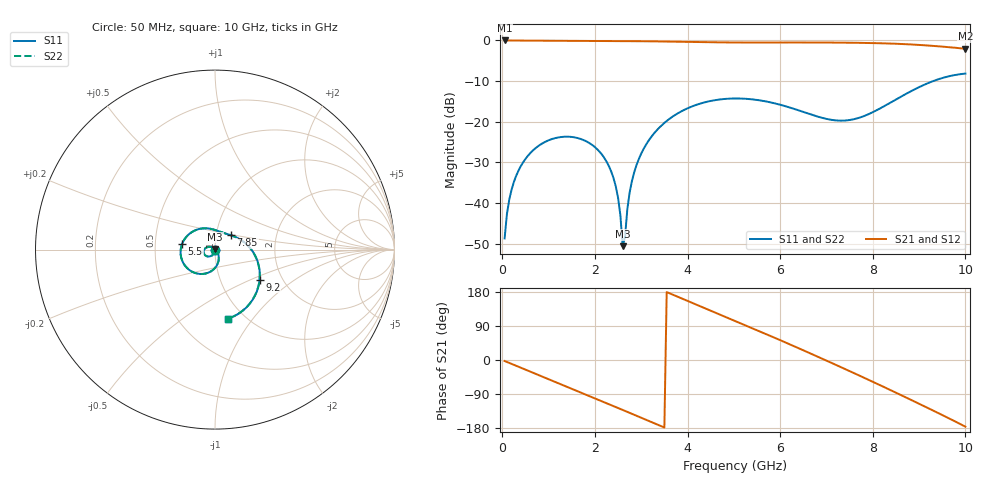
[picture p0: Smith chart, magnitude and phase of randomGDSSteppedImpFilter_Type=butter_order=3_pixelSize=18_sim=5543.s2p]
! freq	dB(S11)	phase(S11)	dB(S12)	phase(S12)
!  dB(S21)	phase(S21)	dB(S22)	phase(S22)
!S-par simulation data
#  GHz  S  DB  R 50
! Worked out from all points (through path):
!   200 points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, 50 MHz to 10 GHz, reference 50 ohm
!   highest |S21| = 0.00 dB at 50 MHz (marker M1); lowest = -2.1 dB at 10 GHz (marker M2)
!   group delay of S21, straight-line fit = 147 ps
!   lowest |S11| = -50.6 dB at 2.6 GHz (marker M3), VSWR 1.01, Z = 50 + j0.295 ohm
!   |S11| at or under -10 dB: start of sweep to 9.303 GHz
!   |S22| runs from -51.4 to -8.2 dB; largest |S21 - S12| = 0
!   S11 on the Smith chart (normalised r, x): 50 MHz: 1.00, -0.01; 5.5 GHz: 0.69, +0.05; 7.85 GHz: 1.18, +0.19; 9.2 GHz: 1.54, -0.57; 10 GHz: 0.84, -0.77
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0.05  -48.67 -91.5  -0.00 -2.6  -0.00 -2.6  -48.67 -91.5
0.2  -36.70 -100.1  -0.02 -10.2  -0.02 -10.2  -36.70 -100.1
0.55  -28.40 -118.4  -0.04 -27.9  -0.04 -27.9  -28.40 -118.4
1.1  -24.14 -146.8  -0.08 -55.7  -0.08 -55.7  -24.14 -146.7
1.75  -24.47 179.5  -0.11 -88.5  -0.11 -88.5  -24.47 179.8
2.35  -32.16 145.6  -0.14 -119.0  -0.14 -119.0  -32.17 146.4
2.5  -38.69 132.1  -0.15 -126.6  -0.15 -126.6  -38.72 133.8
2.6  -50.58 86.4  -0.15 -131.8  -0.15 -131.8  -51.35 91.3
2.65  -48.30 -6.2  -0.16 -134.3  -0.16 -134.3  -48.80 -10.3
2.75  -37.38 -40.6  -0.16 -139.5  -0.16 -139.5  -37.42 -42.1
2.85  -32.35 -49.9  -0.17 -144.6  -0.17 -144.6  -32.37 -50.8
3.4  -21.32 -82.0  -0.25 -173.0  -0.25 -173.0  -21.33 -82.3
4.15  -15.99 -121.1  -0.39 148.3  -0.39 148.3  -15.99 -121.2
5.05  -14.27 -167.3  -0.51 102.1  -0.51 102.1  -14.27 -167.3
5.5  -14.63 169.5  -0.52 78.7  -0.52 78.7  -14.63 169.5
6.05  -15.96 140.5  -0.51 49.8  -0.51 49.8  -15.96 140.5
6.7  -18.33 105.0  -0.50 14.8  -0.50 14.8  -18.33 105.1
7.25  -19.70 74.6  -0.53 -15.4  -0.53 -15.4  -19.70 74.6
7.85  -18.41 41.7  -0.62 -48.9  -0.62 -48.9  -18.41 41.5
8.35  -15.50 14.1  -0.75 -77.5  -0.75 -77.5  -15.50 13.8
9.2  -10.46 -34.0  -1.25 -127.3  -1.25 -127.3  -10.47 -34.2
10  -8.15 -78.9  -2.06 -176.0  -2.06 -176.0  -8.16 -79.2
